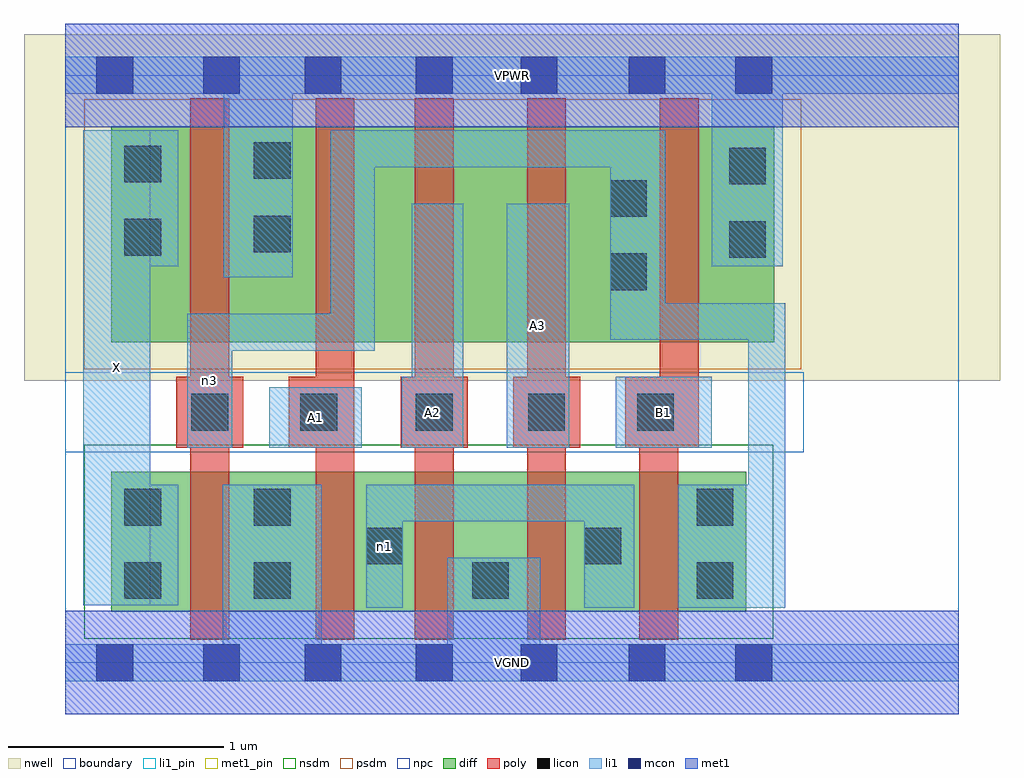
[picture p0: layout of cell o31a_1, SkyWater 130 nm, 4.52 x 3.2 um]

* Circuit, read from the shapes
.subckt o31a_1 A1 A2 A3 B1 VGND VPWR X n1 n3
XM1 VGND n3 X VSUBS sky130_fd_pr__nfet_01v8 w=0.65 l=0.18
XM2 n1 A1 VGND VSUBS sky130_fd_pr__nfet_01v8 w=0.65 l=0.18
XM3 VGND A2 n1 VSUBS sky130_fd_pr__nfet_01v8 w=0.65 l=0.18
XM4 n1 A3 VGND VSUBS sky130_fd_pr__nfet_01v8 w=0.65 l=0.18
XM5 n3 B1 n1 VSUBS sky130_fd_pr__nfet_01v8 w=0.65 l=0.18
XM6 VPWR n3 X n2 sky130_fd_pr__pfet_01v8 w=1 l=0.18
XM7 n4 A1 VPWR n2 sky130_fd_pr__pfet_01v8 w=1 l=0.18
XM8 n5 A2 n4 n2 sky130_fd_pr__pfet_01v8 w=1 l=0.18
XM9 n3 A3 n5 n2 sky130_fd_pr__pfet_01v8 w=1 l=0.18
XM10 VPWR B1 n3 n2 sky130_fd_pr__pfet_01v8 w=1 l=0.18
.ends

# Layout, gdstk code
import gdstk
lib = gdstk.Library(unit=1e-6, precision=1e-09)
def R(c, l, rs):  # rectangles x0, y0, x1, y1
    for r in rs: c.add(gdstk.rectangle(r[:2], r[2:], *l))
nwell = (64, 20)
diff = (65, 20)
poly = (66, 20)
licon = (66, 44)
li1_pin = (67, 16)
li1 = (67, 20)
mcon = (67, 44)
met1_pin = (68, 16)
met1 = (68, 20)
nsdm = (93, 44)
psdm = (94, 20)
npc = (95, 20)
boundary = (235, 4)

o31a_1 = lib.new_cell('o31a_1')
R(o31a_1, nwell, [(-0.19,1.305,4.33,2.91), (0,1.305,4.14,2.91)])
R(o31a_1, diff, [(0.215,0.235,3.155,0.885), (0.215,1.485,3.285,2.485)])
R(o31a_1, poly, [(0.58,0.105,0.76,2.615), (1.16,0.105,1.34,2.615), (1.62,0.105,1.8,2.615), (2.14,0.105,2.32,2.615), (2.66,0.105,2.84,1.325), (0.515,0.995,0.825,1.325), (1.035,0.995,1.34,1.325), (1.555,0.995,1.865,1.325), (2.075,0.995,2.385,1.325), (2.595,0.995,2.935,1.325), (2.755,0.995,2.935,2.615)])
R(o31a_1, licon, [(0.275,0.295,0.445,0.465), (0.875,0.295,1.045,0.465), (1.885,0.295,2.055,0.465), (2.925,0.295,3.095,0.465), (1.395,0.455,1.565,0.625), (2.405,0.455,2.575,0.625), (0.275,0.635,0.445,0.805), (0.875,0.635,1.045,0.805), (2.925,0.635,3.095,0.805), (0.585,1.075,0.755,1.245), (1.09,1.075,1.26,1.245), (1.625,1.075,1.795,1.245), (2.145,1.075,2.315,1.245), (2.65,1.075,2.82,1.245), (2.525,1.725,2.695,1.895), (3.075,1.875,3.245,2.045), (0.275,1.885,0.445,2.055), (0.875,1.9,1.045,2.07), (2.525,2.065,2.695,2.235), (3.075,2.215,3.245,2.385), (0.275,2.225,0.445,2.395), (0.875,2.24,1.045,2.41)])
R(o31a_1, li1_pin, [(0.085,0.265,0.395,2.465), (0.945,0.995,1.375,1.275), (1.56,0.995,1.845,1.325), (2.045,0.995,2.335,2.125), (2.55,0.995,2.995,1.325)])
R(o31a_1, li1, [(0,-0.085,4.14,0.085), (0.73,-0.085,1.19,0.825), (1.77,-0.085,2.2,0.485), (1.395,0.255,1.565,0.825), (2.405,0.255,2.635,0.825), (2.84,0.255,3.335,0.825), (3.165,0.255,3.335,1.665), (0.085,0.265,0.395,2.465), (0.085,0.265,0.525,0.825), (1.395,0.655,2.635,0.825), (0.565,0.995,0.775,1.615), (0.945,0.995,1.375,1.275), (1.56,0.995,1.845,1.325), (1.605,0.995,1.845,2.125), (2.045,0.995,2.335,2.125), (2.55,0.995,2.995,1.325), (0.565,1.445,1.435,1.615), (1.23,1.445,1.435,2.465), (2.525,1.495,2.78,2.465), (2.525,1.495,3.335,1.665), (0.735,1.785,1.055,2.805), (0.085,1.835,0.525,2.465), (2.995,1.835,3.325,2.805), (1.23,2.295,2.78,2.465), (0,2.635,4.14,2.805)])
R(o31a_1, mcon, [(0.145,-0.085,0.315,0.085), (0.64,-0.085,0.81,0.085), (1.11,-0.085,1.28,0.085), (1.625,-0.085,1.795,0.085), (2.11,-0.085,2.28,0.085), (2.61,-0.085,2.78,0.085), (3.105,-0.085,3.275,0.085), (0.145,2.635,0.315,2.805), (0.64,2.635,0.81,2.805), (1.11,2.635,1.28,2.805), (1.625,2.635,1.795,2.805), (2.11,2.635,2.28,2.805), (2.61,2.635,2.78,2.805), (3.105,2.635,3.275,2.805)])
R(o31a_1, met1_pin, [(0,-0.24,4.14,0.24), (0,2.48,4.14,2.96)])
R(o31a_1, met1, [(0,-0.24,4.14,0.24), (0,2.48,4.14,2.96)])
R(o31a_1, nsdm, [(0.09,0.11,3.28,1.01)])
R(o31a_1, psdm, [(0.09,1.36,3.41,2.61)])
R(o31a_1, npc, [(0,0.975,3.42,1.345)])
R(o31a_1, boundary, [(0,0,4.14,2.72)])
o31a_1.add(gdstk.Label('A1', (1.16,1.135), layer=67, texttype=5))
o31a_1.add(gdstk.Label('A2', (1.702,1.16), layer=67, texttype=5))
o31a_1.add(gdstk.Label('A3', (2.19,1.56), layer=67, texttype=5))
o31a_1.add(gdstk.Label('B1', (2.772,1.16), layer=67, texttype=5))
o31a_1.add(gdstk.Label('X', (0.24,1.365), layer=67, texttype=5))
o31a_1.add(gdstk.Label('n1', (1.48,0.54), layer=67, texttype=5))
o31a_1.add(gdstk.Label('n3', (0.67,1.305), layer=67, texttype=5))
o31a_1.add(gdstk.Label('VPWR', (2.07,2.72), layer=68, texttype=5))
o31a_1.add(gdstk.Label('VGND', (2.07,0), layer=68, texttype=5))
o31a_1.add(gdstk.Label('A1', (1.16,1.135), layer=67, texttype=16))
o31a_1.add(gdstk.Label('A2', (1.702,1.16), layer=67, texttype=16))
o31a_1.add(gdstk.Label('A3', (2.19,1.56), layer=67, texttype=16))
o31a_1.add(gdstk.Label('B1', (2.772,1.16), layer=67, texttype=16))
o31a_1.add(gdstk.Label('X', (0.24,1.365), layer=67, texttype=16))
o31a_1.add(gdstk.Label('VPWR', (2.07,2.72), layer=68, texttype=16))
o31a_1.add(gdstk.Label('VGND', (2.07,0), layer=68, texttype=16))

lib.write_gds('o31a_1.gds')
